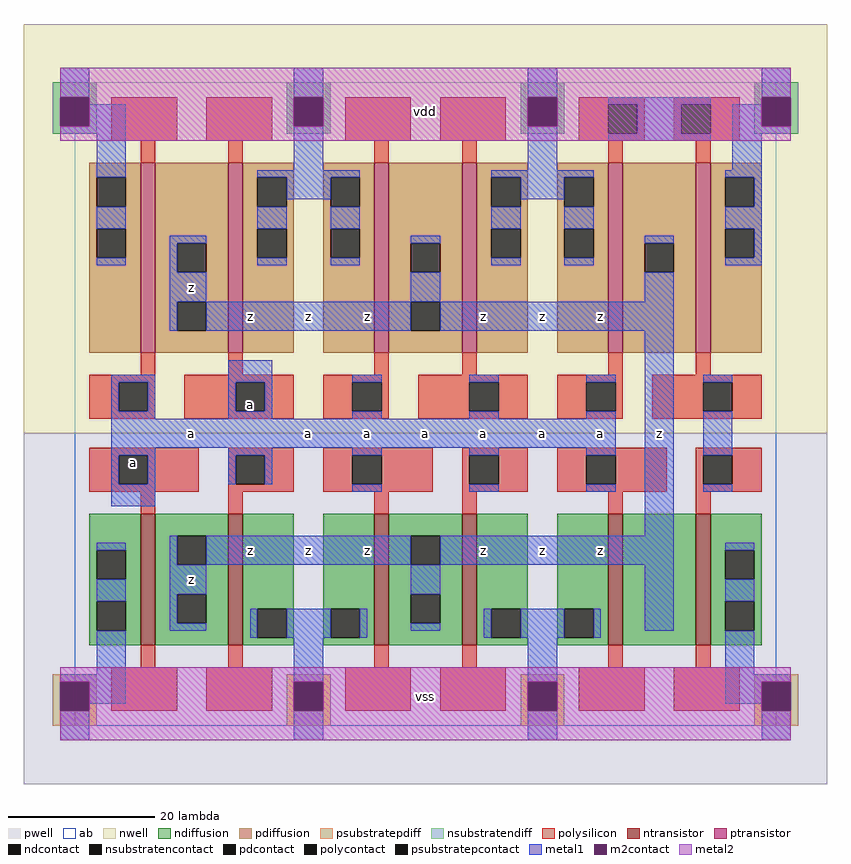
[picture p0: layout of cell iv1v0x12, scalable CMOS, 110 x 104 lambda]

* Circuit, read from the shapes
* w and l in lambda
.subckt iv1v0x12 a vdd vss z
M1 z a vss vss nfet w=18 l=2 m=4
M2 n1 a vss vss nfet w=18 l=2 m=2
M3 z a vdd vdd pfet w=26 l=2 m=6
.ends

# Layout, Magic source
magic
tech scmos
<< ab >>
rect 0 0 96 88
<< pwell >>
rect -7 -8 103 40
<< nwell >>
rect -7 40 103 96
<< polysilicon >>
rect 5 80 14 86
rect 18 80 27 86
rect 37 80 46 86
rect 50 80 59 86
rect 69 85 78 86
rect 69 81 73 85
rect 77 81 78 85
rect 69 80 78 81
rect 82 85 91 86
rect 82 81 83 85
rect 87 81 91 85
rect 82 80 91 81
rect 9 77 11 80
rect 21 77 23 80
rect 41 77 43 80
rect 53 77 55 80
rect 73 77 75 80
rect 85 77 87 80
rect 9 48 11 51
rect 21 48 23 51
rect 41 48 43 51
rect 53 48 55 51
rect 73 48 75 51
rect 85 48 87 51
rect 2 47 11 48
rect 2 43 6 47
rect 10 43 11 47
rect 2 42 11 43
rect 15 47 30 48
rect 15 43 22 47
rect 26 43 30 47
rect 15 42 30 43
rect 34 47 43 48
rect 34 43 38 47
rect 42 43 43 47
rect 34 42 43 43
rect 47 47 62 48
rect 47 43 54 47
rect 58 43 62 47
rect 47 42 62 43
rect 66 47 75 48
rect 66 43 70 47
rect 74 43 75 47
rect 66 42 75 43
rect 79 47 94 48
rect 79 43 86 47
rect 90 43 94 47
rect 79 42 94 43
rect 2 37 17 38
rect 2 33 6 37
rect 10 33 17 37
rect 2 32 17 33
rect 21 37 30 38
rect 21 33 22 37
rect 26 33 30 37
rect 21 32 30 33
rect 34 37 49 38
rect 34 33 38 37
rect 42 33 49 37
rect 34 32 49 33
rect 53 37 62 38
rect 53 33 54 37
rect 58 33 62 37
rect 53 32 62 33
rect 66 37 81 38
rect 66 33 70 37
rect 74 33 81 37
rect 66 32 81 33
rect 85 37 94 38
rect 85 33 86 37
rect 90 33 94 37
rect 85 32 94 33
rect 9 29 11 32
rect 21 29 23 32
rect 41 29 43 32
rect 53 29 55 32
rect 73 29 75 32
rect 85 29 87 32
rect 9 8 11 11
rect 21 8 23 11
rect 41 8 43 11
rect 53 8 55 11
rect 73 8 75 11
rect 85 8 87 11
rect 5 2 14 8
rect 18 2 27 8
rect 37 2 46 8
rect 50 2 59 8
rect 69 2 78 8
rect 82 2 91 8
<< ndiffusion >>
rect 2 24 9 29
rect 2 20 3 24
rect 7 20 9 24
rect 2 17 9 20
rect 2 13 3 17
rect 7 13 9 17
rect 2 11 9 13
rect 11 26 21 29
rect 11 22 14 26
rect 18 22 21 26
rect 11 18 21 22
rect 11 14 14 18
rect 18 14 21 18
rect 11 11 21 14
rect 23 16 30 29
rect 23 12 25 16
rect 29 12 30 16
rect 23 11 30 12
rect 34 16 41 29
rect 34 12 35 16
rect 39 12 41 16
rect 34 11 41 12
rect 43 26 53 29
rect 43 22 46 26
rect 50 22 53 26
rect 43 18 53 22
rect 43 14 46 18
rect 50 14 53 18
rect 43 11 53 14
rect 55 16 62 29
rect 55 12 57 16
rect 61 12 62 16
rect 55 11 62 12
rect 66 16 73 29
rect 66 12 67 16
rect 71 12 73 16
rect 66 11 73 12
rect 75 11 85 29
rect 87 24 94 29
rect 87 20 89 24
rect 93 20 94 24
rect 87 17 94 20
rect 87 13 89 17
rect 93 13 94 17
rect 87 11 94 13
<< pdiffusion >>
rect 2 75 9 77
rect 2 71 3 75
rect 7 71 9 75
rect 2 68 9 71
rect 2 64 3 68
rect 7 64 9 68
rect 2 51 9 64
rect 11 66 21 77
rect 11 62 14 66
rect 18 62 21 66
rect 11 58 21 62
rect 11 54 14 58
rect 18 54 21 58
rect 11 51 21 54
rect 23 75 30 77
rect 23 71 25 75
rect 29 71 30 75
rect 23 68 30 71
rect 23 64 25 68
rect 29 64 30 68
rect 23 51 30 64
rect 34 75 41 77
rect 34 71 35 75
rect 39 71 41 75
rect 34 68 41 71
rect 34 64 35 68
rect 39 64 41 68
rect 34 51 41 64
rect 43 66 53 77
rect 43 62 46 66
rect 50 62 53 66
rect 43 58 53 62
rect 43 54 46 58
rect 50 54 53 58
rect 43 51 53 54
rect 55 75 62 77
rect 55 71 57 75
rect 61 71 62 75
rect 55 68 62 71
rect 55 64 57 68
rect 61 64 62 68
rect 55 51 62 64
rect 66 75 73 77
rect 66 71 67 75
rect 71 71 73 75
rect 66 68 73 71
rect 66 64 67 68
rect 71 64 73 68
rect 66 51 73 64
rect 75 66 85 77
rect 75 62 78 66
rect 82 62 85 66
rect 75 51 85 62
rect 87 75 94 77
rect 87 71 89 75
rect 93 71 94 75
rect 87 68 94 71
rect 87 64 89 68
rect 93 64 94 68
rect 87 51 94 64
<< metal1 >>
rect -2 86 2 90
rect 30 86 34 90
rect 2 82 7 85
rect -2 81 7 82
rect 3 75 7 81
rect 30 76 34 82
rect 62 86 66 90
rect 94 86 98 90
rect 62 76 66 82
rect 73 85 87 86
rect 77 81 83 85
rect 73 80 87 81
rect 90 82 94 85
rect 90 81 98 82
rect 90 76 94 81
rect 3 68 7 71
rect 25 75 39 76
rect 29 72 35 75
rect 25 68 29 71
rect 3 63 7 64
rect 13 66 18 67
rect 13 62 14 66
rect 25 63 29 64
rect 35 68 39 71
rect 57 75 71 76
rect 61 72 67 75
rect 57 68 61 71
rect 35 63 39 64
rect 46 66 50 67
rect 13 58 18 62
rect 57 63 61 64
rect 67 68 71 71
rect 89 75 94 76
rect 93 71 94 75
rect 89 68 94 71
rect 67 63 71 64
rect 78 66 82 67
rect 46 58 50 62
rect 93 64 94 68
rect 89 63 94 64
rect 78 58 82 62
rect 13 54 14 58
rect 18 54 46 58
rect 50 54 82 58
rect 5 47 11 48
rect 5 43 6 47
rect 10 43 11 47
rect 5 42 11 43
rect 21 47 27 50
rect 21 43 22 47
rect 26 43 27 47
rect 21 42 27 43
rect 38 47 42 48
rect 38 42 42 43
rect 54 47 58 48
rect 54 42 58 43
rect 70 47 74 48
rect 70 42 74 43
rect 5 38 74 42
rect 5 37 11 38
rect 5 33 6 37
rect 10 33 11 37
rect 21 37 27 38
rect 21 33 22 37
rect 26 33 27 37
rect 38 37 42 38
rect 5 30 11 33
rect 38 32 42 33
rect 54 37 58 38
rect 54 32 58 33
rect 70 37 74 38
rect 70 32 74 33
rect 78 26 82 54
rect 86 47 90 48
rect 86 37 90 43
rect 86 32 90 33
rect 3 24 7 25
rect 3 17 7 20
rect 13 22 14 26
rect 18 22 46 26
rect 50 22 82 26
rect 13 18 18 22
rect 13 14 14 18
rect 46 18 50 22
rect 13 13 18 14
rect 3 7 7 13
rect 24 12 25 16
rect 29 12 35 16
rect 39 12 40 16
rect 46 13 50 14
rect 56 12 57 16
rect 61 12 67 16
rect 71 12 72 16
rect 78 13 82 22
rect 89 24 93 25
rect 89 17 93 20
rect -2 6 7 7
rect 2 3 7 6
rect 30 6 34 12
rect -2 -2 2 2
rect 30 -2 34 2
rect 62 6 66 12
rect 89 7 93 13
rect 89 6 98 7
rect 89 3 94 6
rect 62 -2 66 2
rect 94 -2 98 2
<< metal2 >>
rect -2 86 98 90
rect 2 82 30 86
rect 34 82 62 86
rect 66 82 94 86
rect -2 80 98 82
rect -2 6 98 8
rect 2 2 30 6
rect 34 2 62 6
rect 66 2 94 6
rect -2 -2 98 2
<< ntransistor >>
rect 9 11 11 29
rect 21 11 23 29
rect 41 11 43 29
rect 53 11 55 29
rect 73 11 75 29
rect 85 11 87 29
<< ptransistor >>
rect 9 51 11 77
rect 21 51 23 77
rect 41 51 43 77
rect 53 51 55 77
rect 73 51 75 77
rect 85 51 87 77
<< polycontact >>
rect 73 81 77 85
rect 83 81 87 85
rect 6 43 10 47
rect 22 43 26 47
rect 38 43 42 47
rect 54 43 58 47
rect 70 43 74 47
rect 86 43 90 47
rect 6 33 10 37
rect 22 33 26 37
rect 38 33 42 37
rect 54 33 58 37
rect 70 33 74 37
rect 86 33 90 37
<< ndcontact >>
rect 3 20 7 24
rect 3 13 7 17
rect 14 22 18 26
rect 14 14 18 18
rect 25 12 29 16
rect 35 12 39 16
rect 46 22 50 26
rect 46 14 50 18
rect 57 12 61 16
rect 67 12 71 16
rect 89 20 93 24
rect 89 13 93 17
<< pdcontact >>
rect 3 71 7 75
rect 3 64 7 68
rect 14 62 18 66
rect 14 54 18 58
rect 25 71 29 75
rect 25 64 29 68
rect 35 71 39 75
rect 35 64 39 68
rect 46 62 50 66
rect 46 54 50 58
rect 57 71 61 75
rect 57 64 61 68
rect 67 71 71 75
rect 67 64 71 68
rect 78 62 82 66
rect 89 71 93 75
rect 89 64 93 68
<< m2contact >>
rect -2 82 2 86
rect 30 82 34 86
rect 62 82 66 86
rect 94 82 98 86
rect -2 2 2 6
rect 30 2 34 6
rect 62 2 66 6
rect 94 2 98 6
<< psubstratepcontact >>
rect -2 2 2 6
rect 30 2 34 6
rect 62 2 66 6
rect 94 2 98 6
<< nsubstratencontact >>
rect -2 82 2 86
rect 30 82 34 86
rect 62 82 66 86
rect 94 82 98 86
<< psubstratepdiff >>
rect -3 6 3 7
rect -3 2 -2 6
rect 2 2 3 6
rect 29 6 35 7
rect 29 2 30 6
rect 34 2 35 6
rect 61 6 67 7
rect 61 2 62 6
rect 66 2 67 6
rect 93 6 99 7
rect 93 2 94 6
rect 98 2 99 6
rect -3 0 3 2
rect 29 0 35 2
rect 61 0 67 2
rect 93 0 99 2
<< nsubstratendiff >>
rect -3 86 3 88
rect 29 86 35 88
rect 61 86 67 88
rect 93 86 99 88
rect -3 82 -2 86
rect 2 82 3 86
rect -3 81 3 82
rect 29 82 30 86
rect 34 82 35 86
rect 29 81 35 82
rect 61 82 62 86
rect 66 82 67 86
rect 61 81 67 82
rect 93 82 94 86
rect 98 82 99 86
rect 93 81 99 82
<< labels >>
rlabel polycontact 8 36 8 36 6 a
rlabel metal1 16 20 16 20 6 z
rlabel metal1 32 24 32 24 6 z
rlabel metal1 24 24 24 24 6 z
rlabel metal1 16 40 16 40 6 a
rlabel metal1 32 40 32 40 6 a
rlabel polycontact 24 44 24 44 6 a
rlabel metal1 24 56 24 56 6 z
rlabel metal1 32 56 32 56 6 z
rlabel metal1 16 60 16 60 6 z
rlabel metal1 40 24 40 24 6 z
rlabel metal1 56 24 56 24 6 z
rlabel metal1 40 40 40 40 6 a
rlabel metal1 56 40 56 40 6 a
rlabel metal1 48 40 48 40 6 a
rlabel metal1 56 56 56 56 6 z
rlabel metal1 40 56 40 56 6 z
rlabel metal1 72 24 72 24 6 z
rlabel metal1 64 24 64 24 6 z
rlabel metal1 72 40 72 40 6 a
rlabel metal1 64 40 64 40 6 a
rlabel metal1 64 56 64 56 6 z
rlabel metal1 72 56 72 56 6 z
rlabel metal1 80 40 80 40 6 z
rlabel metal2 48 4 48 4 6 vss
rlabel metal2 48 84 48 84 6 vdd
<< end >>
